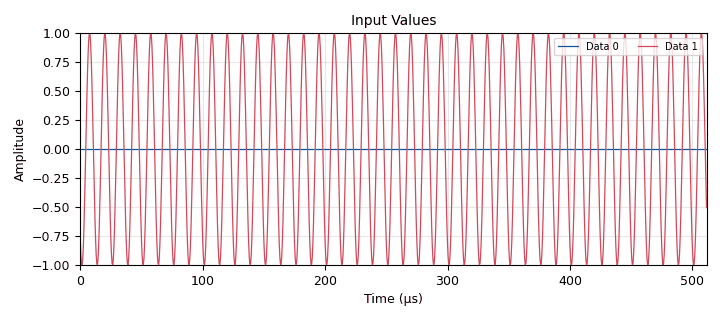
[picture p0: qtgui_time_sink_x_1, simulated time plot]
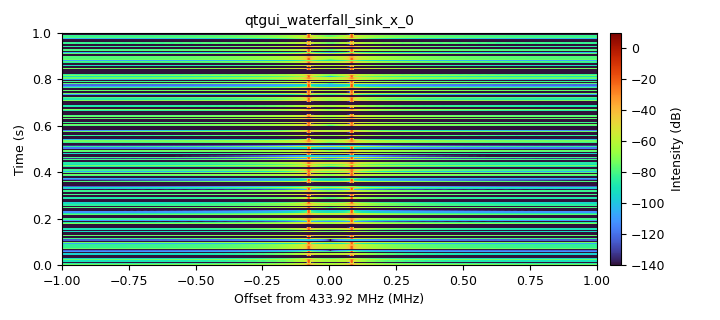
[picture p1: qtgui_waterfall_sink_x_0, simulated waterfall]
options:
  parameters:
    author: Nikita Filin
    generate_options: qt_gui
    id: homework_temp
    output_language: python
    title: Homework11
  states: {}

blocks:
- name: bit_duration
  id: variable
  parameters:
    value: symbol_duration / bits_per_symbol
  states: {}
- name: bits_per_symbol
  id: variable
  parameters:
    value: '4'
  states: {}
- name: operation_freq
  id: variable
  parameters:
    value: 433.92e6
  states: {}
- name: samp_rate
  id: variable
  parameters:
    value: 2e6
  states: {}
- name: symbol_duration
  id: variable
  parameters:
    value: '1.08e-3'
  states: {}
- name: analog_sig_source_x_0
  id: analog_sig_source_x
  parameters:
    amp: '1'
    freq: operation_freq
    offset: '0'
    phase: '0'
    samp_rate: samp_rate
    type: float
    waveform: analog.GR_COS_WAVE
  states: {}
- name: bits
  id: epy_module
  parameters:
    source_code: |
      # this module will be imported in the into your flowgraph
      def generate_bits():
      	current = [0,0,0,0,1,1,0,0,1,1,0,1,0,1,0,1,1,1,1,1,1,1,0,0,0]
      	new_bits = []
      	for bit in current:
      		if bit == 1:
      			new_bits += [1,1,1,0]
      		else:
      			new_bits += [1,0,0,0]
      			
      	new_bits += [0, 0, 0, 0] * 7
      	
      	return new_bits
  states: {}
- name: blocks_complex_to_float_0
  id: blocks_complex_to_float
  parameters: {}
  states: {}
- name: blocks_file_sink_0
  id: blocks_file_sink
  parameters:
    file: generated_signal
    type: complex
  states: {}
- name: blocks_float_to_complex_0
  id: blocks_float_to_complex
  parameters: {}
  states: {}
- name: blocks_multiply_const_vxx_0
  id: blocks_multiply_const_vxx
  parameters:
    const: '0.5'
    type: complex
  states: {}
- name: blocks_multiply_xx_0
  id: blocks_multiply_xx
  parameters:
    type: float
  states: {}
- name: blocks_repeat_0
  id: blocks_repeat
  parameters:
    interp: int(samp_rate*bit_duration)
    type: float
  states: {}
- name: blocks_vector_source_x_0
  id: blocks_vector_source_x
  parameters:
    repeat: 'True'
    type: float
    vector: bits.generate_bits()
  states: {}
- name: blocks_wavfile_sink_0
  id: blocks_wavfile_sink
  parameters:
    bits_per_sample1: FORMAT_PCM_16
    file: generated_signal.wav
    format: FORMAT_WAV
    samp_rate: int(samp_rate)
  states: {}
- name: osmosdr_sink_0
  id: osmosdr_sink
  parameters:
    args: hackrf
    bb_gain0: '20'
    freq0: operation_freq
    gain0: '10'
    if_gain0: '20'
    sample_rate: samp_rate
    sync: sync
    type: fc32
  states: {}
- name: qtgui_time_sink_x_1
  id: qtgui_time_sink_x
  parameters:
    label1: ''
    label2: ''
    name: '"Input Values"'
    nconnections: '2'
    size: '1024'
    srate: samp_rate
    type: float
  states: {}
- name: qtgui_waterfall_sink_x_0
  id: qtgui_waterfall_sink_x
  parameters:
    bw: samp_rate
    fc: operation_freq
    fftsize: '1024'
    showports: 'True'
    type: complex
  states: {}

connections:
- [analog_sig_source_x_0, '0', blocks_multiply_xx_0, '1']
- [analog_sig_source_x_0, '0', qtgui_time_sink_x_1, '1']
- [blocks_complex_to_float_0, '0', blocks_wavfile_sink_0, '0']
- [blocks_float_to_complex_0, '0', blocks_multiply_const_vxx_0, '0']
- [blocks_multiply_const_vxx_0, '0', blocks_complex_to_float_0, '0']
- [blocks_multiply_const_vxx_0, '0', blocks_file_sink_0, '0']
- [blocks_multiply_const_vxx_0, '0', osmosdr_sink_0, '0']
- [blocks_multiply_const_vxx_0, '0', qtgui_waterfall_sink_x_0, '0']
- [blocks_multiply_xx_0, '0', blocks_float_to_complex_0, '0']
- [blocks_repeat_0, '0', blocks_multiply_xx_0, '0']
- [blocks_repeat_0, '0', qtgui_time_sink_x_1, '0']
- [blocks_vector_source_x_0, '0', blocks_repeat_0, '0']

metadata:
  file_format: 1
  grc_version: 3.10.4.0
